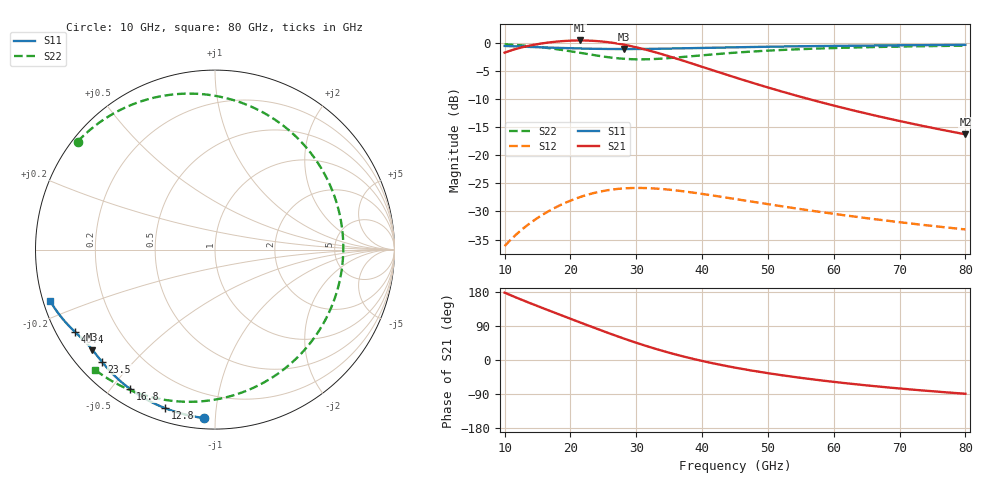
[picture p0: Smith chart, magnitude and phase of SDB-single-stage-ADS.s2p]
! Created Fri May  5 21:36:33 2023
# hz S ma R 50
! 2 Port Network Data from SP1.SP block
! freq  magS11  angS11  magS21  angS21  magS12  angS12  magS22  angS22
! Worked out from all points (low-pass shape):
!   701 points, 10 GHz to 80 GHz, reference 50 ohm
!   highest |S21| = 0.44 dB at 21.5 GHz (marker M1); lowest = -16.3 dB at 80 GHz (marker M2)
!   |S21| within 3 dB of the highest: start of sweep to 35.48 GHz
!   lowest |S11| = -1.1 dB at 28.1 GHz (marker M3), VSWR 15.96, Z = 3.53 - j17.7 ohm
!   |S11| at or under -10 dB: nowhere
!   |S22| runs from -2.9 to -0.2 dB; largest |S21 - S12| = 1
!   S11 on the Smith chart (normalised r, x): 10 GHz: 0.06, -0.94; 12.8 GHz: 0.06, -0.73; 16.8 GHz: 0.06, -0.56; 23.5 GHz: 0.07, -0.41; 40.4 GHz: 0.05, -0.27; 80 GHz: 0.02, -0.15
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1e10  0.9407 -93.6  0.8193 177.7  0.01553 108.5  0.9736 141.8
1.15e10  0.9326 -101.5  0.8768 166.7  0.0191 100.5  0.962 134.9
1.28e10  0.9262 -107.5  0.9188 157.5  0.02226 93.9  0.9497 128.6
1.48e10  0.9173 -115.1  0.9716 143.7  0.02718 84.1  0.9265 118.0
1.68e10  0.9091 -121.4  1.012 130.2  0.03208 74.5  0.8981 106.2
1.92e10  0.9001 -127.5  1.042 114.2  0.03772 63.1  0.858 90.4
2.15e10  0.8926 -132.1  1.053 98.9  0.04256 52.1  0.816 73.4
2.17e10  0.892 -132.4  1.052 97.6  0.04295 51.2  0.8123 71.8
2.35e10  0.8874 -135.3  1.044 85.7  0.04607 42.7  0.7803 57.2
2.59e10  0.8833 -138.5  1.013 70.3  0.04914 31.5  0.7443 36.6
2.81e10  0.8821 -140.8  0.9657 56.7  0.05074 21.8  0.7229 17.3
2.94e10  0.8825 -142.0  0.9316 49.0  0.05115 16.3  0.7164 6.1
3.07e10  0.8837 -143.1  0.8942 41.5  0.05121 11.0  0.7145 -4.8
3.34e10  0.888 -145.1  0.8106 27.1  0.05037 1.0  0.7227 -25.5
3.68e10  0.8956 -147.4  0.7048 10.9  0.04809 -9.9  0.7479 -47.4
4.04e10  0.9046 -149.5  0.6027 -4.0  0.04498 -19.3  0.7805 -65.8
4.5e10  0.9155 -151.9  0.4938 -20.1  0.04086 -29.0  0.8197 -83.4
5.07e10  0.9272 -154.4  0.3905 -36.6  0.0362 -38.0  0.8585 -99.0
5.67e10  0.9372 -156.7  0.3112 -50.9  0.03208 -45.1  0.8883 -110.7
6.22e10  0.9448 -158.4  0.2574 -62.0  0.02895 -50.1  0.9084 -118.7
6.84e10  0.9518 -160.1  0.2117 -72.7  0.02604 -54.5  0.9252 -125.7
8e10  0.9618 -162.7  0.1537 -89.1  0.02187 -60.7  0.9463 -135.1
